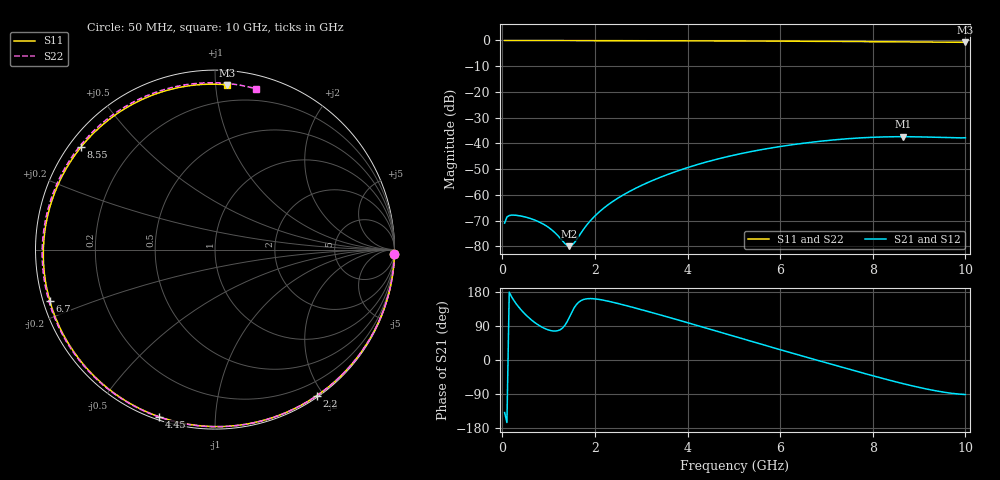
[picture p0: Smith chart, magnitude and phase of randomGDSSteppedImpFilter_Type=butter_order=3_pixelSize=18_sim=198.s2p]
! freq	dB(S11)	phase(S11)	dB(S12)	phase(S12)
!  dB(S21)	phase(S21)	dB(S22)	phase(S22)
!S-par simulation data
#  GHz  S  DB  R 50
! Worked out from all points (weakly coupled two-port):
!   200 points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, 50 MHz to 10 GHz, reference 50 ohm
!   highest |S21| = -37.41 dB at 8.65 GHz (marker M1); lowest = -80.0 dB at 1.45 GHz (marker M2)
!   lowest |S11| = -0.7 dB at 10 GHz (marker M3), VSWR 24.13, Z = 4.47 + j53.6 ohm
!   |S11| at or under -10 dB: nowhere
!   |S22| runs from -0.7 to 0.0 dB; largest |S21 - S12| = 0
!   S11 on the Smith chart (normalised r, x): 50 MHz: 0, -89; 2.2 GHz: 0.02, -1.91; 4.45 GHz: 0.01, -0.72; 6.7 GHz: 0.02, -0.15; 8.55 GHz: 0.03, +0.34; 10 GHz: 0.09, +1.07
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0.05  -0.00 -1.3  -70.99 -138.6  -70.99 -138.6  -0.00 -1.5
0.1  -0.00 -2.6  -68.64 -164.9  -68.64 -164.9  -0.00 -3.0
0.2  -0.00 -5.1  -67.90 167.0  -67.90 167.0  -0.00 -6.0
0.65  -0.02 -16.7  -69.47 103.7  -69.47 103.7  -0.02 -19.3
1  -0.03 -25.5  -72.70 79.2  -72.70 79.2  -0.04 -29.6
1.45  -0.05 -36.8  -79.97 113.2  -79.97 113.2  -0.05 -42.5
1.55  -0.05 -39.3  -78.75 137.4  -78.75 137.4  -0.06 -45.4
1.75  -0.06 -44.2  -73.51 159.4  -73.51 159.4  -0.06 -51.0
1.95  -0.06 -49.1  -69.14 161.8  -69.14 161.8  -0.07 -56.6
2.2  -0.07 -55.2  -65.04 157.4  -65.04 157.4  -0.08 -63.6
2.7  -0.09 -67.3  -59.14 142.8  -59.14 142.8  -0.10 -77.1
3.4  -0.11 -83.9  -53.28 119.4  -53.28 119.4  -0.12 -95.6
4.45  -0.16 -108.5  -47.04 82.5  -47.04 82.5  -0.17 -122.2
5.05  -0.19 -122.5  -44.39 60.9  -44.39 60.9  -0.20 -137.1
5.9  -0.25 -142.7  -41.51 30.7  -41.51 30.7  -0.26 -158.4
6.7  -0.32 -162.8  -39.52 2.9  -39.52 2.9  -0.33 -179.1
7.55  -0.41 174.0  -38.08 -26.4  -38.08 -26.4  -0.41 157.5
8.35  -0.51 149.2  -37.45 -53.0  -37.45 -53.0  -0.49 133.4
8.55  -0.54 142.4  -37.41 -59.3  -37.41 -59.3  -0.52 127.0
8.65  -0.55 139.0  -37.41 -62.3  -37.41 -62.3  -0.53 123.7
9.4  -0.65 110.9  -37.67 -82.2  -37.67 -82.2  -0.61 97.9
10  -0.72 85.8  -37.85 -91.1  -37.85 -91.1  -0.68 75.7
